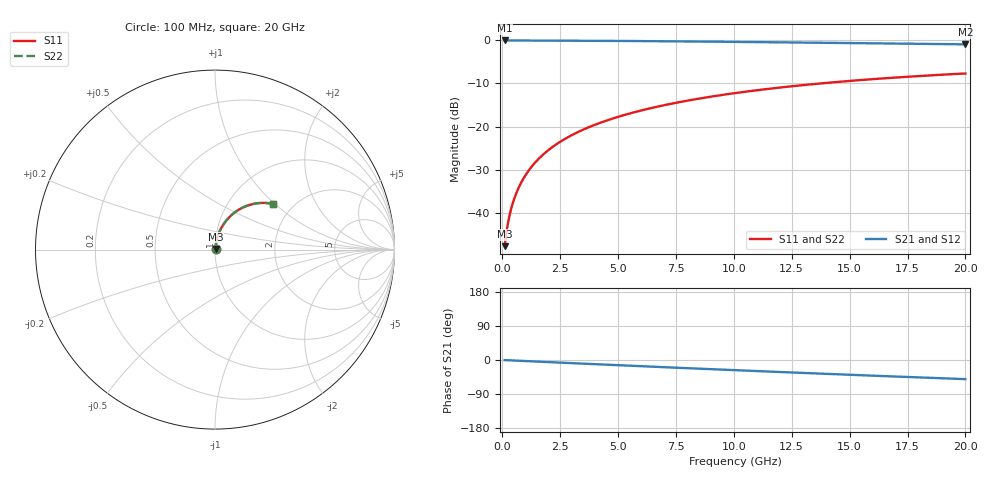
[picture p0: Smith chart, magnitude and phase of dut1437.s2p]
! Touchstone file exported from HFSS 2026.1.0
!  File:  C:/ffzhzh/LocalFiles/Ansys_Project_Files/temp_train_BSMRDL_1437_1783180475_18472.aedt
!  Generated:  11:56:00 PM Jul  4, 2026
!  Design:  BSMRDL
!  Project:  temp_train_BSMRDL_1437_1783180475_18472
! Variables:
!  h_bsmrdl = 4.43um
!  h_ox = 20um
!  h_rdl = 5um
!  h_sub = 80um
!  h_tmrdl = 5um
!  h_tsv = 80um
!  h_via = 3um
!  l_bsmrdl = 780.17um
!  l_sub = 1180.17um
!  l_tmrdl = 200um
!  m_sub = 200um
!  pitch = 49.57um
!  r_tsv = 6um
!  s_tmrdl = 10um
!  w_bsmrdl = 23.63um
!  w_sub = 500um
!  w_tmrdl = 12um
!  x_tsv_center1 = 206um
!  x_tsv_center2 = 1009.8um
!  x_tsv_center3 = 1221.8um
!  x_tsv_center4 = 2025.6um
!  x_tsv_center5 = 2237.6um
!  x_tsv_center6 = 3041.4um
# GHz S MA R 50.000000
! Terminal data exported
! Port[1] = BSM_RDL1_1_T1
! Port[2] = BSM_RDL1_1_T2
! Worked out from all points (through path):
!   200 points, 100 MHz to 20 GHz, reference 50 ohm
!   highest |S21| = -0.02 dB at 100 MHz (marker M1); lowest = -0.9 dB at 20 GHz (marker M2)
!   group delay of S21, straight-line fit = 7.01 ps
!   lowest |S11| = -47.8 dB at 100 MHz (marker M3), VSWR 1.01, Z = 50.3 + j0.295 ohm
!   |S11| at or under -10 dB: start of sweep to 13.74 GHz
!   |S22| runs from -47.8 to -7.7 dB; largest |S21 - S12| = 3.2e-15
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0.1  0.004095 45.8  0.9972 -0.3  0.9972 -0.3  0.004095 45.8
! Gamma 0 0 0 0
! Port Impedance 50 0 50 0
0.2  0.006505 61.6  0.9969 -0.6  0.9969 -0.6  0.006505 61.6
0.3  0.009032 68.4  0.9968 -0.9  0.9968 -0.9  0.009032 68.4
0.4  0.01158 72.2  0.9966 -1.1  0.9966 -1.1  0.01158 72.2
0.5  0.01415 74.6  0.9965 -1.4  0.9965 -1.4  0.01415 74.6
0.6  0.01674 76.3  0.9964 -1.7  0.9964 -1.7  0.01674 76.3
0.8  0.02196 78.4  0.9962 -2.2  0.9962 -2.2  0.02196 78.4
1.1  0.02985 79.8  0.9958 -3.1  0.9958 -3.1  0.02985 79.8
1.5  0.04039 80.2  0.9953 -4.2  0.9953 -4.2  0.04039 80.2
1.8  0.04829 80.1  0.9947 -5.0  0.9947 -5.0  0.04829 80.1
2.1  0.05615 79.8  0.9941 -5.8  0.9941 -5.8  0.05615 79.8
2.7  0.07175 78.7  0.9927 -7.5  0.9927 -7.5  0.07175 78.7
3.5  0.09225 77.0  0.9904 -9.7  0.9904 -9.7  0.09225 77.0
4.2  0.1099 75.3  0.988 -11.6  0.988 -11.6  0.1099 75.3
5  0.1296 73.3  0.9849 -13.7  0.9849 -13.7  0.1296 73.4
5.9  0.1513 71.1  0.9812 -16.1  0.9812 -16.1  0.1513 71.1
6.8  0.1725 68.9  0.9771 -18.5  0.9771 -18.5  0.1725 68.9
8.3  0.2066 65.2  0.9696 -22.4  0.9696 -22.4  0.2066 65.2
10.1  0.2454 60.8  0.9598 -27.0  0.9598 -27.0  0.2454 60.8
13.4  0.3101 52.9  0.9401 -35.2  0.9401 -35.2  0.3101 52.9
16.7  0.366 45.3  0.9194 -43.0  0.9194 -43.0  0.366 45.3
20  0.4128 38.0  0.8992 -50.5  0.8992 -50.5  0.4128 38.0
